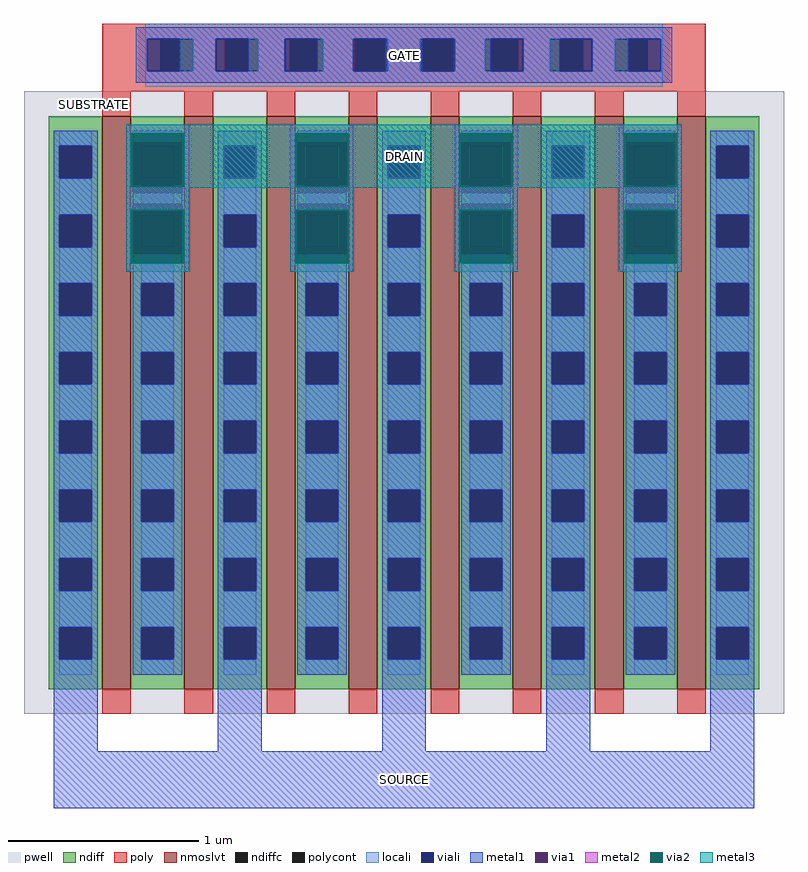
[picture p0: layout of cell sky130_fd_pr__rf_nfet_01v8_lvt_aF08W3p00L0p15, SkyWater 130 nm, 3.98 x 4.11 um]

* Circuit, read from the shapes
.subckt sky130_fd_pr__rf_nfet_01v8_lvt_aF08W3p00L0p15 DRAIN GATE SOURCE SUBSTRATE
XM1 DRAIN GATE SOURCE SUBSTRATE sky130_fd_pr__nfet_01v8_lvt w=3 l=0.15 m=8
.ends

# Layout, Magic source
magic
tech sky130A
magscale 1 2
<< pwell >>
rect 10 10 806 662
<< nmoslvt >>
rect 92 36 122 636
rect 178 36 208 636
rect 264 36 294 636
rect 350 36 380 636
rect 436 36 466 636
rect 522 36 552 636
rect 608 36 638 636
rect 694 36 724 636
<< ndiff >>
rect 36 605 92 636
rect 36 571 47 605
rect 81 571 92 605
rect 36 533 92 571
rect 36 499 47 533
rect 81 499 92 533
rect 36 461 92 499
rect 36 427 47 461
rect 81 427 92 461
rect 36 389 92 427
rect 36 355 47 389
rect 81 355 92 389
rect 36 317 92 355
rect 36 283 47 317
rect 81 283 92 317
rect 36 245 92 283
rect 36 211 47 245
rect 81 211 92 245
rect 36 173 92 211
rect 36 139 47 173
rect 81 139 92 173
rect 36 101 92 139
rect 36 67 47 101
rect 81 67 92 101
rect 36 36 92 67
rect 122 605 178 636
rect 122 571 133 605
rect 167 571 178 605
rect 122 533 178 571
rect 122 499 133 533
rect 167 499 178 533
rect 122 461 178 499
rect 122 427 133 461
rect 167 427 178 461
rect 122 389 178 427
rect 122 355 133 389
rect 167 355 178 389
rect 122 317 178 355
rect 122 283 133 317
rect 167 283 178 317
rect 122 245 178 283
rect 122 211 133 245
rect 167 211 178 245
rect 122 173 178 211
rect 122 139 133 173
rect 167 139 178 173
rect 122 101 178 139
rect 122 67 133 101
rect 167 67 178 101
rect 122 36 178 67
rect 208 605 264 636
rect 208 571 219 605
rect 253 571 264 605
rect 208 533 264 571
rect 208 499 219 533
rect 253 499 264 533
rect 208 461 264 499
rect 208 427 219 461
rect 253 427 264 461
rect 208 389 264 427
rect 208 355 219 389
rect 253 355 264 389
rect 208 317 264 355
rect 208 283 219 317
rect 253 283 264 317
rect 208 245 264 283
rect 208 211 219 245
rect 253 211 264 245
rect 208 173 264 211
rect 208 139 219 173
rect 253 139 264 173
rect 208 101 264 139
rect 208 67 219 101
rect 253 67 264 101
rect 208 36 264 67
rect 294 605 350 636
rect 294 571 305 605
rect 339 571 350 605
rect 294 533 350 571
rect 294 499 305 533
rect 339 499 350 533
rect 294 461 350 499
rect 294 427 305 461
rect 339 427 350 461
rect 294 389 350 427
rect 294 355 305 389
rect 339 355 350 389
rect 294 317 350 355
rect 294 283 305 317
rect 339 283 350 317
rect 294 245 350 283
rect 294 211 305 245
rect 339 211 350 245
rect 294 173 350 211
rect 294 139 305 173
rect 339 139 350 173
rect 294 101 350 139
rect 294 67 305 101
rect 339 67 350 101
rect 294 36 350 67
rect 380 605 436 636
rect 380 571 391 605
rect 425 571 436 605
rect 380 533 436 571
rect 380 499 391 533
rect 425 499 436 533
rect 380 461 436 499
rect 380 427 391 461
rect 425 427 436 461
rect 380 389 436 427
rect 380 355 391 389
rect 425 355 436 389
rect 380 317 436 355
rect 380 283 391 317
rect 425 283 436 317
rect 380 245 436 283
rect 380 211 391 245
rect 425 211 436 245
rect 380 173 436 211
rect 380 139 391 173
rect 425 139 436 173
rect 380 101 436 139
rect 380 67 391 101
rect 425 67 436 101
rect 380 36 436 67
rect 466 605 522 636
rect 466 571 477 605
rect 511 571 522 605
rect 466 533 522 571
rect 466 499 477 533
rect 511 499 522 533
rect 466 461 522 499
rect 466 427 477 461
rect 511 427 522 461
rect 466 389 522 427
rect 466 355 477 389
rect 511 355 522 389
rect 466 317 522 355
rect 466 283 477 317
rect 511 283 522 317
rect 466 245 522 283
rect 466 211 477 245
rect 511 211 522 245
rect 466 173 522 211
rect 466 139 477 173
rect 511 139 522 173
rect 466 101 522 139
rect 466 67 477 101
rect 511 67 522 101
rect 466 36 522 67
rect 552 605 608 636
rect 552 571 563 605
rect 597 571 608 605
rect 552 533 608 571
rect 552 499 563 533
rect 597 499 608 533
rect 552 461 608 499
rect 552 427 563 461
rect 597 427 608 461
rect 552 389 608 427
rect 552 355 563 389
rect 597 355 608 389
rect 552 317 608 355
rect 552 283 563 317
rect 597 283 608 317
rect 552 245 608 283
rect 552 211 563 245
rect 597 211 608 245
rect 552 173 608 211
rect 552 139 563 173
rect 597 139 608 173
rect 552 101 608 139
rect 552 67 563 101
rect 597 67 608 101
rect 552 36 608 67
rect 638 605 694 636
rect 638 571 649 605
rect 683 571 694 605
rect 638 533 694 571
rect 638 499 649 533
rect 683 499 694 533
rect 638 461 694 499
rect 638 427 649 461
rect 683 427 694 461
rect 638 389 694 427
rect 638 355 649 389
rect 683 355 694 389
rect 638 317 694 355
rect 638 283 649 317
rect 683 283 694 317
rect 638 245 694 283
rect 638 211 649 245
rect 683 211 694 245
rect 638 173 694 211
rect 638 139 649 173
rect 683 139 694 173
rect 638 101 694 139
rect 638 67 649 101
rect 683 67 694 101
rect 638 36 694 67
rect 724 605 780 636
rect 724 571 735 605
rect 769 571 780 605
rect 724 533 780 571
rect 724 499 735 533
rect 769 499 780 533
rect 724 461 780 499
rect 724 427 735 461
rect 769 427 780 461
rect 724 389 780 427
rect 724 355 735 389
rect 769 355 780 389
rect 724 317 780 355
rect 724 283 735 317
rect 769 283 780 317
rect 724 245 780 283
rect 724 211 735 245
rect 769 211 780 245
rect 724 173 780 211
rect 724 139 735 173
rect 769 139 780 173
rect 724 101 780 139
rect 724 67 735 101
rect 769 67 780 101
rect 724 36 780 67
<< ndiffc >>
rect 47 571 81 605
rect 47 499 81 533
rect 47 427 81 461
rect 47 355 81 389
rect 47 283 81 317
rect 47 211 81 245
rect 47 139 81 173
rect 47 67 81 101
rect 133 571 167 605
rect 133 499 167 533
rect 133 427 167 461
rect 133 355 167 389
rect 133 283 167 317
rect 133 211 167 245
rect 133 139 167 173
rect 133 67 167 101
rect 219 571 253 605
rect 219 499 253 533
rect 219 427 253 461
rect 219 355 253 389
rect 219 283 253 317
rect 219 211 253 245
rect 219 139 253 173
rect 219 67 253 101
rect 305 571 339 605
rect 305 499 339 533
rect 305 427 339 461
rect 305 355 339 389
rect 305 283 339 317
rect 305 211 339 245
rect 305 139 339 173
rect 305 67 339 101
rect 391 571 425 605
rect 391 499 425 533
rect 391 427 425 461
rect 391 355 425 389
rect 391 283 425 317
rect 391 211 425 245
rect 391 139 425 173
rect 391 67 425 101
rect 477 571 511 605
rect 477 499 511 533
rect 477 427 511 461
rect 477 355 511 389
rect 477 283 511 317
rect 477 211 511 245
rect 477 139 511 173
rect 477 67 511 101
rect 563 571 597 605
rect 563 499 597 533
rect 563 427 597 461
rect 563 355 597 389
rect 563 283 597 317
rect 563 211 597 245
rect 563 139 597 173
rect 563 67 597 101
rect 649 571 683 605
rect 649 499 683 533
rect 649 427 683 461
rect 649 355 683 389
rect 649 283 683 317
rect 649 211 683 245
rect 649 139 683 173
rect 649 67 683 101
rect 735 571 769 605
rect 735 499 769 533
rect 735 427 769 461
rect 735 355 769 389
rect 735 283 769 317
rect 735 211 769 245
rect 735 139 769 173
rect 735 67 769 101
<< poly >>
rect 92 717 724 733
rect 92 683 153 717
rect 187 683 221 717
rect 255 683 289 717
rect 323 683 357 717
rect 391 683 425 717
rect 459 683 493 717
rect 527 683 561 717
rect 595 683 629 717
rect 663 683 724 717
rect 92 662 724 683
rect 92 636 122 662
rect 178 636 208 662
rect 264 636 294 662
rect 350 636 380 662
rect 436 636 466 662
rect 522 636 552 662
rect 608 636 638 662
rect 694 636 724 662
rect 92 10 122 36
rect 178 10 208 36
rect 264 10 294 36
rect 350 10 380 36
rect 436 10 466 36
rect 522 10 552 36
rect 608 10 638 36
rect 694 10 724 36
<< polycont >>
rect 153 683 187 717
rect 221 683 255 717
rect 289 683 323 717
rect 357 683 391 717
rect 425 683 459 717
rect 493 683 527 717
rect 561 683 595 717
rect 629 683 663 717
<< locali >>
rect 137 717 679 733
rect 137 683 139 717
rect 187 683 211 717
rect 255 683 283 717
rect 323 683 355 717
rect 391 683 425 717
rect 461 683 493 717
rect 533 683 561 717
rect 605 683 629 717
rect 677 683 679 717
rect 137 667 679 683
rect 47 605 81 621
rect 47 533 81 571
rect 47 461 81 499
rect 47 389 81 427
rect 47 317 81 355
rect 47 245 81 283
rect 47 173 81 211
rect 47 101 81 139
rect 47 51 81 67
rect 133 605 167 621
rect 133 533 167 571
rect 133 461 167 499
rect 133 389 167 427
rect 133 317 167 355
rect 133 245 167 283
rect 133 173 167 211
rect 133 101 167 139
rect 133 51 167 67
rect 219 605 253 621
rect 219 533 253 571
rect 219 461 253 499
rect 219 389 253 427
rect 219 317 253 355
rect 219 245 253 283
rect 219 173 253 211
rect 219 101 253 139
rect 219 51 253 67
rect 305 605 339 621
rect 305 533 339 571
rect 305 461 339 499
rect 305 389 339 427
rect 305 317 339 355
rect 305 245 339 283
rect 305 173 339 211
rect 305 101 339 139
rect 305 51 339 67
rect 391 605 425 621
rect 391 533 425 571
rect 391 461 425 499
rect 391 389 425 427
rect 391 317 425 355
rect 391 245 425 283
rect 391 173 425 211
rect 391 101 425 139
rect 391 51 425 67
rect 477 605 511 621
rect 477 533 511 571
rect 477 461 511 499
rect 477 389 511 427
rect 477 317 511 355
rect 477 245 511 283
rect 477 173 511 211
rect 477 101 511 139
rect 477 51 511 67
rect 563 605 597 621
rect 563 533 597 571
rect 563 461 597 499
rect 563 389 597 427
rect 563 317 597 355
rect 563 245 597 283
rect 563 173 597 211
rect 563 101 597 139
rect 563 51 597 67
rect 649 605 683 621
rect 649 533 683 571
rect 649 461 683 499
rect 649 389 683 427
rect 649 317 683 355
rect 649 245 683 283
rect 649 173 683 211
rect 649 101 683 139
rect 649 51 683 67
rect 735 605 769 621
rect 735 533 769 571
rect 735 461 769 499
rect 735 389 769 427
rect 735 317 769 355
rect 735 245 769 283
rect 735 173 769 211
rect 735 101 769 139
rect 735 51 769 67
<< viali >>
rect 139 683 153 717
rect 153 683 173 717
rect 211 683 221 717
rect 221 683 245 717
rect 283 683 289 717
rect 289 683 317 717
rect 355 683 357 717
rect 357 683 389 717
rect 427 683 459 717
rect 459 683 461 717
rect 499 683 527 717
rect 527 683 533 717
rect 571 683 595 717
rect 595 683 605 717
rect 643 683 663 717
rect 663 683 677 717
rect 47 571 81 605
rect 47 499 81 533
rect 47 427 81 461
rect 47 355 81 389
rect 47 283 81 317
rect 47 211 81 245
rect 47 139 81 173
rect 47 67 81 101
rect 133 571 167 605
rect 133 499 167 533
rect 133 427 167 461
rect 133 355 167 389
rect 133 283 167 317
rect 133 211 167 245
rect 133 139 167 173
rect 133 67 167 101
rect 219 571 253 605
rect 219 499 253 533
rect 219 427 253 461
rect 219 355 253 389
rect 219 283 253 317
rect 219 211 253 245
rect 219 139 253 173
rect 219 67 253 101
rect 305 571 339 605
rect 305 499 339 533
rect 305 427 339 461
rect 305 355 339 389
rect 305 283 339 317
rect 305 211 339 245
rect 305 139 339 173
rect 305 67 339 101
rect 391 571 425 605
rect 391 499 425 533
rect 391 427 425 461
rect 391 355 425 389
rect 391 283 425 317
rect 391 211 425 245
rect 391 139 425 173
rect 391 67 425 101
rect 477 571 511 605
rect 477 499 511 533
rect 477 427 511 461
rect 477 355 511 389
rect 477 283 511 317
rect 477 211 511 245
rect 477 139 511 173
rect 477 67 511 101
rect 563 571 597 605
rect 563 499 597 533
rect 563 427 597 461
rect 563 355 597 389
rect 563 283 597 317
rect 563 211 597 245
rect 563 139 597 173
rect 563 67 597 101
rect 649 571 683 605
rect 649 499 683 533
rect 649 427 683 461
rect 649 355 683 389
rect 649 283 683 317
rect 649 211 683 245
rect 649 139 683 173
rect 649 67 683 101
rect 735 571 769 605
rect 735 499 769 533
rect 735 427 769 461
rect 735 355 769 389
rect 735 283 769 317
rect 735 211 769 245
rect 735 139 769 173
rect 735 67 769 101
<< metal1 >>
rect 127 717 689 729
rect 127 683 139 717
rect 173 683 211 717
rect 245 683 283 717
rect 317 683 355 717
rect 389 683 427 717
rect 461 683 499 717
rect 533 683 571 717
rect 605 683 643 717
rect 677 683 689 717
rect 127 671 689 683
rect 41 605 87 621
rect 41 571 47 605
rect 81 571 87 605
rect 41 533 87 571
rect 41 499 47 533
rect 81 499 87 533
rect 41 461 87 499
rect 41 427 47 461
rect 81 427 87 461
rect 41 389 87 427
rect 41 355 47 389
rect 81 355 87 389
rect 41 317 87 355
rect 41 283 47 317
rect 81 283 87 317
rect 41 245 87 283
rect 41 211 47 245
rect 81 211 87 245
rect 41 173 87 211
rect 41 139 47 173
rect 81 139 87 173
rect 41 101 87 139
rect 41 67 47 101
rect 81 67 87 101
rect 41 -29 87 67
rect 124 608 176 621
rect 124 544 176 556
rect 124 461 176 492
rect 124 427 133 461
rect 167 427 176 461
rect 124 389 176 427
rect 124 355 133 389
rect 167 355 176 389
rect 124 317 176 355
rect 124 283 133 317
rect 167 283 176 317
rect 124 245 176 283
rect 124 211 133 245
rect 167 211 176 245
rect 124 173 176 211
rect 124 139 133 173
rect 167 139 176 173
rect 124 101 176 139
rect 124 67 133 101
rect 167 67 176 101
rect 124 51 176 67
rect 213 605 259 621
rect 213 571 219 605
rect 253 571 259 605
rect 213 533 259 571
rect 213 499 219 533
rect 253 499 259 533
rect 213 461 259 499
rect 213 427 219 461
rect 253 427 259 461
rect 213 389 259 427
rect 213 355 219 389
rect 253 355 259 389
rect 213 317 259 355
rect 213 283 219 317
rect 253 283 259 317
rect 213 245 259 283
rect 213 211 219 245
rect 253 211 259 245
rect 213 173 259 211
rect 213 139 219 173
rect 253 139 259 173
rect 213 101 259 139
rect 213 67 219 101
rect 253 67 259 101
rect 213 -29 259 67
rect 296 608 348 621
rect 296 544 348 556
rect 296 461 348 492
rect 296 427 305 461
rect 339 427 348 461
rect 296 389 348 427
rect 296 355 305 389
rect 339 355 348 389
rect 296 317 348 355
rect 296 283 305 317
rect 339 283 348 317
rect 296 245 348 283
rect 296 211 305 245
rect 339 211 348 245
rect 296 173 348 211
rect 296 139 305 173
rect 339 139 348 173
rect 296 101 348 139
rect 296 67 305 101
rect 339 67 348 101
rect 296 51 348 67
rect 385 605 431 621
rect 385 571 391 605
rect 425 571 431 605
rect 385 533 431 571
rect 385 499 391 533
rect 425 499 431 533
rect 385 461 431 499
rect 385 427 391 461
rect 425 427 431 461
rect 385 389 431 427
rect 385 355 391 389
rect 425 355 431 389
rect 385 317 431 355
rect 385 283 391 317
rect 425 283 431 317
rect 385 245 431 283
rect 385 211 391 245
rect 425 211 431 245
rect 385 173 431 211
rect 385 139 391 173
rect 425 139 431 173
rect 385 101 431 139
rect 385 67 391 101
rect 425 67 431 101
rect 385 -29 431 67
rect 468 608 520 621
rect 468 544 520 556
rect 468 461 520 492
rect 468 427 477 461
rect 511 427 520 461
rect 468 389 520 427
rect 468 355 477 389
rect 511 355 520 389
rect 468 317 520 355
rect 468 283 477 317
rect 511 283 520 317
rect 468 245 520 283
rect 468 211 477 245
rect 511 211 520 245
rect 468 173 520 211
rect 468 139 477 173
rect 511 139 520 173
rect 468 101 520 139
rect 468 67 477 101
rect 511 67 520 101
rect 468 51 520 67
rect 557 605 603 621
rect 557 571 563 605
rect 597 571 603 605
rect 557 533 603 571
rect 557 499 563 533
rect 597 499 603 533
rect 557 461 603 499
rect 557 427 563 461
rect 597 427 603 461
rect 557 389 603 427
rect 557 355 563 389
rect 597 355 603 389
rect 557 317 603 355
rect 557 283 563 317
rect 597 283 603 317
rect 557 245 603 283
rect 557 211 563 245
rect 597 211 603 245
rect 557 173 603 211
rect 557 139 563 173
rect 597 139 603 173
rect 557 101 603 139
rect 557 67 563 101
rect 597 67 603 101
rect 557 -29 603 67
rect 640 608 692 621
rect 640 544 692 556
rect 640 461 692 492
rect 640 427 649 461
rect 683 427 692 461
rect 640 389 692 427
rect 640 355 649 389
rect 683 355 692 389
rect 640 317 692 355
rect 640 283 649 317
rect 683 283 692 317
rect 640 245 692 283
rect 640 211 649 245
rect 683 211 692 245
rect 640 173 692 211
rect 640 139 649 173
rect 683 139 692 173
rect 640 101 692 139
rect 640 67 649 101
rect 683 67 692 101
rect 640 51 692 67
rect 729 605 775 621
rect 729 571 735 605
rect 769 571 775 605
rect 729 533 775 571
rect 729 499 735 533
rect 769 499 775 533
rect 729 461 775 499
rect 729 427 735 461
rect 769 427 775 461
rect 729 389 775 427
rect 729 355 735 389
rect 769 355 775 389
rect 729 317 775 355
rect 729 283 735 317
rect 769 283 775 317
rect 729 245 775 283
rect 729 211 735 245
rect 769 211 775 245
rect 729 173 775 211
rect 729 139 735 173
rect 769 139 775 173
rect 729 101 775 139
rect 729 67 735 101
rect 769 67 775 101
rect 729 -29 775 67
rect 41 -89 775 -29
<< via1 >>
rect 124 605 176 608
rect 124 571 133 605
rect 133 571 167 605
rect 167 571 176 605
rect 124 556 176 571
rect 124 533 176 544
rect 124 499 133 533
rect 133 499 167 533
rect 167 499 176 533
rect 124 492 176 499
rect 296 605 348 608
rect 296 571 305 605
rect 305 571 339 605
rect 339 571 348 605
rect 296 556 348 571
rect 296 533 348 544
rect 296 499 305 533
rect 305 499 339 533
rect 339 499 348 533
rect 296 492 348 499
rect 468 605 520 608
rect 468 571 477 605
rect 477 571 511 605
rect 511 571 520 605
rect 468 556 520 571
rect 468 533 520 544
rect 468 499 477 533
rect 477 499 511 533
rect 511 499 520 533
rect 468 492 520 499
rect 640 605 692 608
rect 640 571 649 605
rect 649 571 683 605
rect 683 571 692 605
rect 640 556 692 571
rect 640 533 692 544
rect 640 499 649 533
rect 649 499 683 533
rect 683 499 692 533
rect 640 492 692 499
<< metal2 >>
rect 117 618 183 627
rect 117 562 122 618
rect 178 562 183 618
rect 117 556 124 562
rect 176 556 183 562
rect 117 544 183 556
rect 117 538 124 544
rect 176 538 183 544
rect 117 482 122 538
rect 178 482 183 538
rect 117 473 183 482
rect 289 618 355 627
rect 289 562 294 618
rect 350 562 355 618
rect 289 556 296 562
rect 348 556 355 562
rect 289 544 355 556
rect 289 538 296 544
rect 348 538 355 544
rect 289 482 294 538
rect 350 482 355 538
rect 289 473 355 482
rect 461 618 527 627
rect 461 562 466 618
rect 522 562 527 618
rect 461 556 468 562
rect 520 556 527 562
rect 461 544 527 556
rect 461 538 468 544
rect 520 538 527 544
rect 461 482 466 538
rect 522 482 527 538
rect 461 473 527 482
rect 633 618 699 627
rect 633 562 638 618
rect 694 562 699 618
rect 633 556 640 562
rect 692 556 699 562
rect 633 544 699 556
rect 633 538 640 544
rect 692 538 699 544
rect 633 482 638 538
rect 694 482 699 538
rect 633 473 699 482
<< via2 >>
rect 122 608 178 618
rect 122 562 124 608
rect 124 562 176 608
rect 176 562 178 608
rect 122 492 124 538
rect 124 492 176 538
rect 176 492 178 538
rect 122 482 178 492
rect 294 608 350 618
rect 294 562 296 608
rect 296 562 348 608
rect 348 562 350 608
rect 294 492 296 538
rect 296 492 348 538
rect 348 492 350 538
rect 294 482 350 492
rect 466 608 522 618
rect 466 562 468 608
rect 468 562 520 608
rect 520 562 522 608
rect 466 492 468 538
rect 468 492 520 538
rect 520 492 522 538
rect 466 482 522 492
rect 638 608 694 618
rect 638 562 640 608
rect 640 562 692 608
rect 692 562 694 608
rect 638 492 640 538
rect 640 492 692 538
rect 692 492 694 538
rect 638 482 694 492
<< metal3 >>
rect 117 618 699 627
rect 117 562 122 618
rect 178 562 294 618
rect 350 562 466 618
rect 522 562 638 618
rect 694 562 699 618
rect 117 561 699 562
rect 117 538 183 561
rect 117 482 122 538
rect 178 482 183 538
rect 117 473 183 482
rect 289 538 355 561
rect 289 482 294 538
rect 350 482 355 538
rect 289 473 355 482
rect 461 538 527 561
rect 461 482 466 538
rect 522 482 527 538
rect 461 473 527 482
rect 633 538 699 561
rect 633 482 638 538
rect 694 482 699 538
rect 633 473 699 482
<< labels >>
flabel metal3 s 117 561 699 627 0 FreeSans 400 0 0 0 DRAIN
port 1 nsew
flabel metal1 s 127 671 689 729 0 FreeSans 400 0 0 0 GATE
port 2 nsew
flabel metal1 s 41 -89 775 -29 0 FreeSans 400 0 0 0 SOURCE
port 3 nsew
flabel pwell s 79 639 89 658 0 FreeSans 200 0 0 0 SUBSTRATE
port 4 nsew
<< properties >>
string GDS_FILE $PDKPATH/libs.ref/sky130_fd_pr/gds/sky130_fd_pr.gds
string GDS_END 5936268
string GDS_START 5916990
string path 1.600 15.525 1.600 -2.225 
<< end >>
